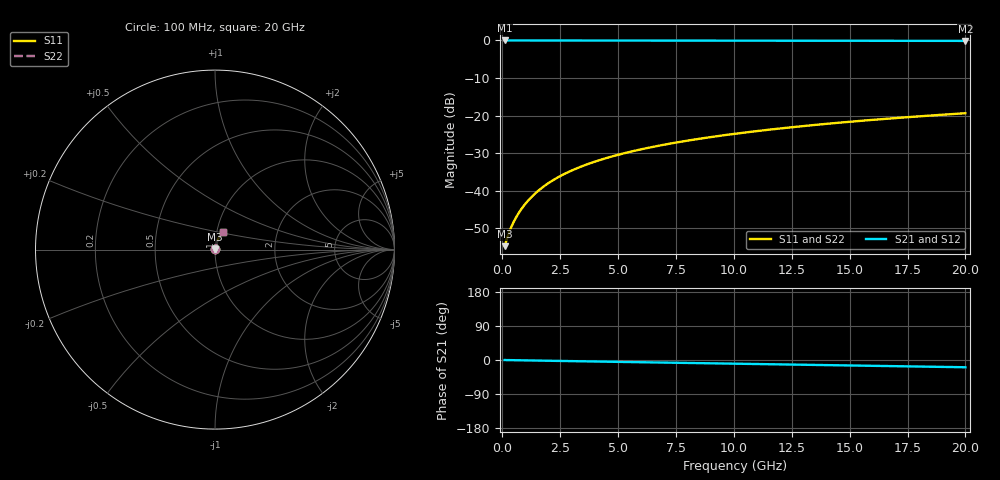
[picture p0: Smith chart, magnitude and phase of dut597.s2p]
! Touchstone file exported from HFSS 2026.1.0
!  File:  C:/ffzhzh/LocalFiles/Ansys_Project_Files/temp_train_BSMRDL_597_1783015982_46388.aedt
!  Generated:  02:14:22 AM Jul  3, 2026
!  Design:  BSMRDL
!  Project:  temp_train_BSMRDL_597_1783015982_46388
! Variables:
!  h_bsmrdl = 4.91um
!  h_ox = 20um
!  h_rdl = 5um
!  h_sub = 80um
!  h_tmrdl = 5um
!  h_tsv = 80um
!  h_via = 3um
!  l_bsmrdl = 317.51um
!  l_sub = 717.51um
!  l_tmrdl = 200um
!  m_sub = 200um
!  pitch = 24.46um
!  r_tsv = 6um
!  s_tmrdl = 10um
!  w_bsmrdl = 15.04um
!  w_sub = 500um
!  w_tmrdl = 12um
!  x_tsv_center1 = 206um
!  x_tsv_center2 = 538.55um
!  x_tsv_center3 = 750.55um
!  x_tsv_center4 = 1083.1um
!  x_tsv_center5 = 1295.1um
!  x_tsv_center6 = 1627.65um
# GHz S MA R 50.000000
! Terminal data exported
! Port[1] = BSM_RDL1_1_T1
! Port[2] = BSM_RDL1_1_T2
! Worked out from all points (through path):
!   200 points, 100 MHz to 20 GHz, reference 50 ohm
!   highest |S21| = -0.01 dB at 100 MHz (marker M1); lowest = -0.1 dB at 20 GHz (marker M2)
!   group delay of S21, straight-line fit = 2.65 ps
!   lowest |S11| = -54.7 dB at 100 MHz (marker M3), VSWR 1.00, Z = 50.2 + j0.0771 ohm
!   |S11| at or under -10 dB: start of sweep to end of sweep
!   |S22| runs from -54.7 to -19.4 dB; largest |S21 - S12| = 2e-15
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0.1  0.001834 24.8  0.9983 -0.1  0.9983 -0.1  0.001834 24.8
! Gamma 0 0 0 0
! Port Impedance 50 0 50 0
0.2  0.002303 39.7  0.9982 -0.2  0.9982 -0.2  0.002303 39.7
0.3  0.002826 48.3  0.9981 -0.3  0.9981 -0.3  0.002827 48.3
0.4  0.003357 54.2  0.998 -0.4  0.998 -0.4  0.003357 54.2
0.5  0.003896 58.5  0.998 -0.5  0.998 -0.5  0.003896 58.5
0.6  0.004444 61.9  0.9979 -0.6  0.9979 -0.6  0.004444 61.9
0.8  0.005571 66.8  0.9979 -0.8  0.9979 -0.8  0.005571 66.8
1  0.006729 70.1  0.9978 -1.0  0.9978 -1.0  0.006729 70.1
1.2  0.007907 72.3  0.9977 -1.2  0.9977 -1.2  0.007907 72.3
1.4  0.009096 73.9  0.9976 -1.4  0.9976 -1.4  0.009096 73.9
1.7  0.01089 75.5  0.9975 -1.7  0.9975 -1.7  0.01089 75.5
2.2  0.01388 77.0  0.9973 -2.2  0.9973 -2.2  0.01388 77.0
2.8  0.01745 77.7  0.997 -2.8  0.997 -2.8  0.01745 77.7
3.5  0.02155 77.9  0.9965 -3.5  0.9965 -3.5  0.02155 77.9
4.2  0.02557 77.7  0.9961 -4.2  0.9961 -4.2  0.02557 77.7
5  0.03009 77.4  0.9955 -4.9  0.9955 -4.9  0.03009 77.4
6.8  0.04 76.3  0.9943 -6.7  0.9943 -6.7  0.04 76.3
8.3  0.04805 75.3  0.9933 -8.1  0.9933 -8.1  0.04805 75.3
10.1  0.05755 74.0  0.9921 -9.8  0.9921 -9.8  0.05755 74.0
13.4  0.07462 71.5  0.99 -12.9  0.99 -12.9  0.07462 71.5
16.7  0.09129 68.9  0.9877 -16.0  0.9877 -16.0  0.09129 68.9
20  0.1075 66.2  0.9854 -19.1  0.9854 -19.1  0.1076 66.2
